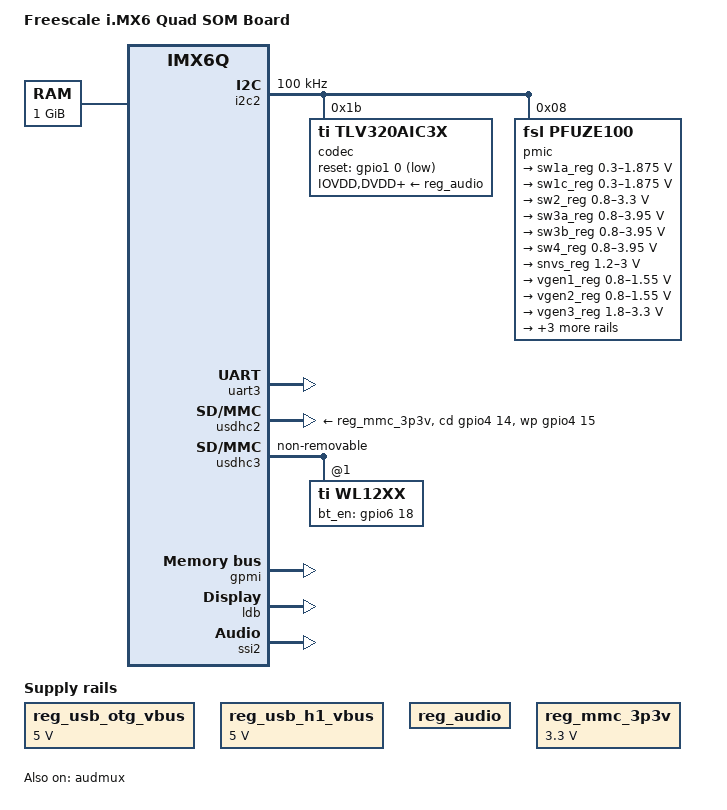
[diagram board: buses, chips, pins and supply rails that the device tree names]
/*
 * Copyright (C) 2014 Variscite, Ltd. All Rights Reserved
 * Donio Ron: ron.d@variscite.com
 *
 * Copyright 2012 Freescale Semiconductor, Inc.
 * Copyright 2011 Linaro Ltd.
 *
 * The code contained herein is licensed under the GNU General Public
 * License. You may obtain a copy of the GNU General Public License
 * Version 2 or later at the following locations:
 *
 * http://www.opensource.org/licenses/gpl-license.html
 * http://www.gnu.org/copyleft/gpl.html
 */

/dts-v1/;

#define VAR_SOM_MX6

#include "imx6q.dtsi"

/ {
	model = "Freescale i.MX6 Quad SOM Board";
	compatible = "fsl,imx6q-var-som", "fsl,imx6q";

	memory {
		reg = <0x10000000 0x40000000>;
	};

	aliases {
		mxcfb0 = &mxcfb1;
	};

	regulators {
		compatible = "simple-bus";

		reg_usb_otg_vbus: usb_otg_vbus {
			compatible = "regulator-fixed";
			regulator-name = "usb_otg_vbus";
			regulator-min-microvolt = <5000000>;
			regulator-max-microvolt = <5000000>;
			enable-active-high;
		};

		reg_usb_h1_vbus: usb_h1_vbus {
			compatible = "regulator-fixed";
			regulator-name = "usb_h1_vbus";
			regulator-min-microvolt = <5000000>;
			regulator-max-microvolt = <5000000>;
		};

		reg_audio: tlv320aic3x_supply {
			compatible = "regulator-fixed";
			regulator-name = "tlv320aic3x-supply";
			enable-active-high;
		};

		reg_mmc_3p3v: 3p3v {
			compatible = "regulator-fixed";
			regulator-name = "3P3V";
			regulator-min-microvolt = <3300000>;
			regulator-max-microvolt = <3300000>;
			regulator-always-on;
		};
	};

	mxcfb1: fb@0 {
	       compatible = "fsl,mxc_sdc_fb";
	       disp_dev = "ldb";
	       interface_pix_fmt = "RGB24";
	       mode_str ="LDB-VGA";
	       default_bpp = <16>;
	       int_clk = <0>;
	       late_init = <0>;
	       status = "okay";
	};

	lcd@0 {
		compatible = "fsl,lcd";
		ipu_id = <0>;
		disp_id = <0>;
		default_ifmt = "RGB565";
//		pinctrl-names = "default";
//		pinctrl-0 = <&pinctrl_ipu1_1>;
		status = "okay";
	};

	sound {
		compatible = "fsl,imx6q-var-som-tlv320aic3x", "fsl,imx-audio-tlv320aic3x";
		model = "tlv320aic3x-audio";
		ssi-controller = <&ssi2>;
		audio-codec = <&codec>;
		audio-routing =
			/* Headphone connected to HPLOUT, HPROUT */
			"Headphone Jack",       "HPLOUT",
			"Headphone Jack",       "HPROUT",
			/* Line Out connected to LLOUT, RLOUT */
			"Line Out",      	"LLOUT",
			"Line Out",     	"RLOUT",
			/* Mic connected to (MIC3L | MIC3R) */
			"Mic Bias",		"MIC3L",
			"Mic Bias",		"MIC3R",
			"Mic Jack",		"Mic Bias",
			/* Line In connected to (LINE1L | LINE2L), (LINE1R | LINE2R) */
			"Line In",		"LINE1L",
			"Line In",		"LINE2L",
			"Line In",		"LINE1R",
			"Line In",		"LINE2R";
		mux-int-port = <2>;
		mux-ext-port = <3>;
	};
};


&iomuxc {
	pinctrl-names = "default";
	pinctrl-0 = <&pinctrl_hog_1>;

	hog {
		pinctrl_hog_1: hoggrp-1 {
			fsl,pins = <
				/* SDMMC2 CD/WP */
				MX6QDL_PAD_KEY_COL4__GPIO4_IO14			0x80000000
				MX6QDL_PAD_KEY_ROW4__GPIO4_IO15			0x80000000
				/* PMIC INT */
				MX6QDL_PAD_GPIO_17__GPIO7_IO12			0x80000000
				/* Audio Clock */
				MX6QDL_PAD_GPIO_0__CCM_CLKO1 			0x130b0			/* Audio Codec Clock */
				/* Camera Clock */
				MX6QDL_PAD_GPIO_3__CCM_CLKO2			0x130b0			/* Camera MCLK */

				MX6QDL_PAD_ENET_RXD0__OSC32K_32K_OUT		0x80000000			/* WIFI Slow clock */
				MX6QDL_PAD_SD3_DAT7__GPIO6_IO17		0x000100b0	/* wl12xx_wl_irq */
				MX6QDL_PAD_SD3_DAT6__GPIO6_IO18		0x000000b0	/* wl12xx_bt_en */
				MX6QDL_PAD_SD3_RST__GPIO7_IO08		0x000000b0	/* wl12xx_wl_en */
			>;
		};
	};
};

&i2c2 {
	clock-frequency = <100000>;
	pinctrl-names = "default";
	pinctrl-0 = <&pinctrl_i2c2_2>;
	status = "okay";

	codec: tlv320aic3x@1b {
		compatible = "ti,tlv320aic3x";
		reg = <0x1b>;
		clocks = <&clks 201>;
		clock-names = "clko_clk";
		IOVDD-supply = <&reg_audio>;
		DVDD-supply = <&reg_audio>;
		AVDD-supply = <&reg_audio>;
		DRVDD-supply = <&reg_audio>;
		gpio-reset = <&gpio1 0 1>;
		gpio-cfg = <
			0x0000 /* 0:Default */
			0x0000 /* 1:Default */
			0x0013 /* 2:FN_DMICCLK */
			0x0000 /* 3:Default */
			0x8014 /* 4:FN_DMICCDAT */
			0x0000 /* 5:Default */
		>;
       	};

	pmic: pfuze100@08 {
		compatible = "fsl,pfuze100";
		reg = <0x08>;

		regulators {
			sw1a_reg: sw1ab {
				regulator-min-microvolt = <300000>;
				regulator-max-microvolt = <1875000>;
				regulator-boot-on;
				regulator-always-on;
				regulator-ramp-delay = <6250>;
			};

			sw1c_reg: sw1c {
				regulator-min-microvolt = <300000>;
				regulator-max-microvolt = <1875000>;
				regulator-boot-on;
				regulator-always-on;
				regulator-ramp-delay = <6250>;
			};

			sw2_reg: sw2 {
				regulator-min-microvolt = <800000>;
				regulator-max-microvolt = <3300000>;
				regulator-boot-on;
				regulator-always-on;
			};

			sw3a_reg: sw3a {
				regulator-min-microvolt = <800000>;
				regulator-max-microvolt = <3950000>;
				regulator-boot-on;
				regulator-always-on;
			};

			sw3b_reg: sw3b {
				regulator-min-microvolt = <800000>;
				regulator-max-microvolt = <3950000>;
				regulator-boot-on;
				regulator-always-on;
			};

			sw4_reg: sw4 {
				regulator-min-microvolt = <800000>;
				regulator-max-microvolt = <3950000>;
			};

			snvs_reg: vsnvs {
				regulator-min-microvolt = <1200000>;
				regulator-max-microvolt = <3000000>;
				regulator-boot-on;
				regulator-always-on;
			};

			vref_reg: vrefddr {
				regulator-boot-on;
				regulator-always-on;
			};

			vgen1_reg: vgen1 {
				regulator-min-microvolt = <800000>;
				regulator-max-microvolt = <1550000>;
			};

			vgen2_reg: vgen2 {
				regulator-min-microvolt = <800000>;
				regulator-max-microvolt = <1550000>;
			};

			vgen3_reg: vgen3 {
				regulator-min-microvolt = <1800000>;
				regulator-max-microvolt = <3300000>;
				regulator-always-on;
				regulator-boot-on;
			};

			vgen4_reg: vgen4 {
				regulator-min-microvolt = <1800000>;
				regulator-max-microvolt = <3300000>;
				regulator-always-on;
				regulator-boot-on;
			};

			vgen5_reg: vgen5 {
				regulator-min-microvolt = <1800000>;
				regulator-max-microvolt = <3300000>;
				regulator-always-on;
				regulator-boot-on;
			};

			vgen6_reg: vgen6 {
				regulator-min-microvolt = <3300000>;
				regulator-max-microvolt = <3300000>;
				regulator-always-on;
				regulator-boot-on;
			};
		};
	};
};

&uart3 {
	pinctrl-names = "default";
	pinctrl-0 = <&pinctrl_uart3_2>;
	fsl,uart-has-rtscts;
	status = "okay";
};


&usdhc2 {	/* uSDHC2, MMC/SD card */
	pinctrl-names = "default";
	pinctrl-0 = <&pinctrl_usdhc2_2>;
	cd-gpios = <&gpio4 14 0>;
	wp-gpios = <&gpio4 15 0>;
	no-1-8-v;
	keep-power-in-suspend;
	enable-sdio-wakeup;
	vmmc-supply = <&reg_mmc_3p3v>;
	status = "okay";
};

&usdhc3 {
	pinctrl-names = "default";
	pinctrl-0 = <&pinctrl_usdhc3_2>;
	status = "okay";

	non-removable;
	max-frequency = <24000000>;
	en-gpios = <&gpio7 8 0>;

	wl12xx@1 {
		compatible="ti,wl12xx";
		interrupt = <&gpio6 17 0>;
		bt_en = <&gpio6 18 0>;
	};
};

&gpmi {
	pinctrl-names = "default";
	pinctrl-0 = <&pinctrl_gpmi_nand_1>;

	nand-bus-width = <8>;
	nand-ecc-mode = "hw";

	status = "okay";
};

&ldb {
	ipu_id = <1>;
	disp_id = <0>;
	ext_ref = <1>;
	mode = "sin1";
	sec_ipu_id = <1>;
	sec_disp_id = <1>;
	status = "okay";
};

&cpu0 {
	arm-supply = <&sw1a_reg>;
	soc-supply = <&sw1c_reg>;
	pu-supply = <&pu_dummy>; /* use pu_dummy if VDDSOC share with VDDPU */
};

&gpc {
	fsl,cpu_pupscr_sw2iso = <0xf>;
	fsl,cpu_pupscr_sw = <0xf>;
	fsl,cpu_pdnscr_iso2sw = <0x1>;
	fsl,cpu_pdnscr_iso = <0x1>;
	fsl,ldo-bypass = <1>; /* use ldo-bypass, u-boot will check it and configure */
	fsl,wdog-reset = <1>; /* watchdog select of reset source */
	pu-supply = <&pu_dummy>; /* ldo-bypass:use pu_dummy if VDDSOC share with VDDPU */
};


&gpu {
	pu-supply = <&pu_dummy>; /* ldo-bypass:use pu_dummy if VDDSOC share with VDDPU */
};

&ssi2 {
	fsl,mode = "i2s-slave";
	status = "okay";
};

&audmux {
	pinctrl-names = "default";
	pinctrl-0 = <&pinctrl_audmux_2>;
	status = "okay";
};
